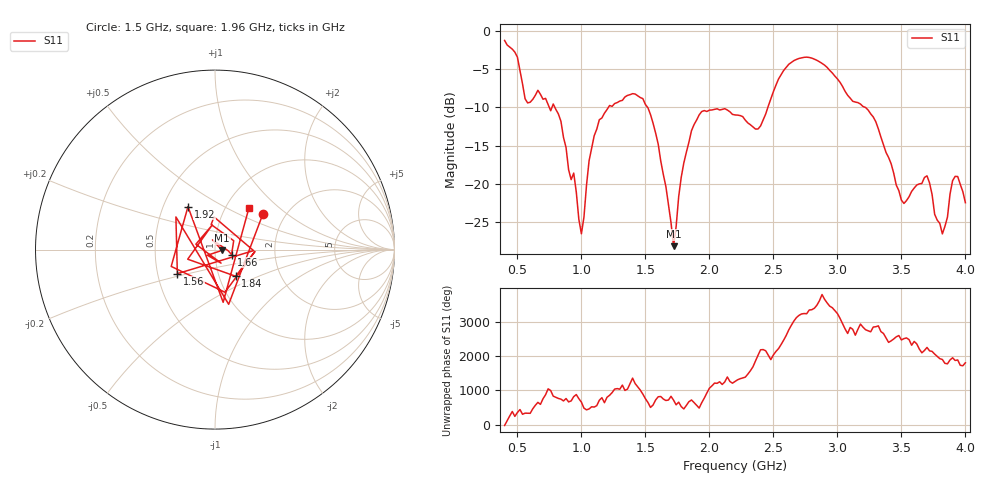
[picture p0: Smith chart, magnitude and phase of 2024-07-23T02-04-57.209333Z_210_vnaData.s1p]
!Created with skrf (http://scikit-rf.org).
# Hz S RI R 50.0
!freq ReS11 ImS11
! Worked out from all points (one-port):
!   181 points, 400 MHz to 4 GHz, reference 50 ohm
!   lowest |S11| = -28.1 dB at 1.72 GHz (marker M1), VSWR 1.08, Z = 54.1 - j0.483 ohm
!   |S11| at or under -10 dB: 792.7 MHz to 1.211 GHz (417.9 MHz wide, 41.7 % of centre); 1.517 GHz to 2.457 GHz (939.2 MHz wide, 47.3 % of centre); 3.218 GHz to end of sweep (the widest 3 of 4)
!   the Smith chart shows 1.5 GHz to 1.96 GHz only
!   S11 on the Smith chart (normalised r, x): 1.5 GHz: 1.54, +0.68; 1.56 GHz: 0.63, -0.18; 1.66 GHz: 1.20, -0.07; 1.84 GHz: 1.20, -0.37; 1.92 GHz: 0.67, +0.35; 1.96 GHz: 1.28, +0.66
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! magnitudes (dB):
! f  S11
! 400 MHz  -1.3
! 500 MHz  -3.4
! 560 MHz  -8.9
! 780 MHz  -9.6
! 860 MHz  -13.9
! 940 MHz  -18.6
! 1 GHz  -26.5
! 1.1 GHz  -13.7
! 1.3 GHz  -9.2
! 1.5 GHz  -9.6
! 1.56 GHz  -12.1
! 1.66 GHz  -20.3
! 1.72 GHz  -28.1
! 1.76 GHz  -21.7
! 1.84 GHz  -14.5
! 1.92 GHz  -11.0
! 1.96 GHz  -10.4
! 2.2 GHz  -11.0
! 2.38 GHz  -12.8
! 2.66 GHz  -3.9
! 3.1 GHz  -8.8
! 3.28 GHz  -11.2
! 3.5 GHz  -22.1
! 3.56 GHz  -21.7
! 3.7 GHz  -18.9
! 3.82 GHz  -26.5
! 3.92 GHz  -19.0
! 4 GHz  -22.4
